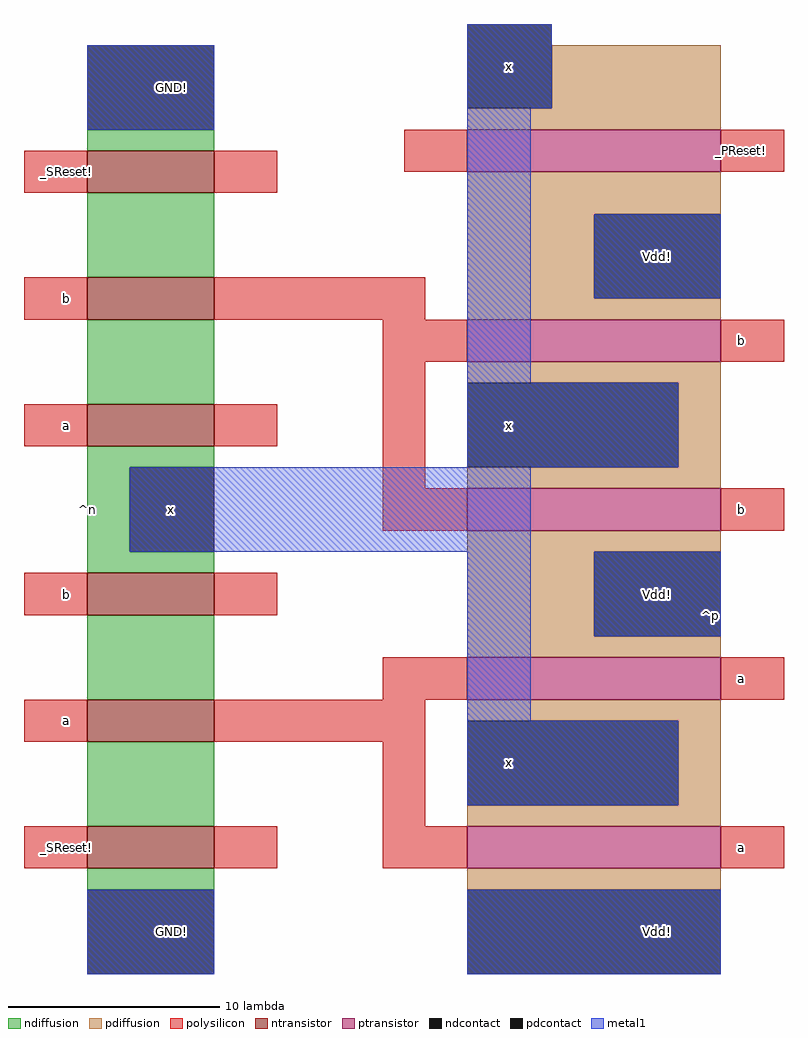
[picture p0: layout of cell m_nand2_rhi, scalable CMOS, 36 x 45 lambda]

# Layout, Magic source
magic
tech scmos
<< ndiffusion >>
rect 37 64 43 65
rect 37 58 43 62
rect 37 52 43 56
rect 37 49 43 50
rect 37 45 39 49
rect 37 44 43 45
rect 37 38 43 42
rect 37 32 43 36
rect 37 29 43 30
<< pdiffusion >>
rect 59 66 67 69
rect 55 65 67 66
rect 55 61 67 63
rect 55 57 61 61
rect 55 56 67 57
rect 55 53 67 54
rect 65 49 67 53
rect 55 48 67 49
rect 55 45 67 46
rect 55 41 61 45
rect 55 40 67 41
rect 55 37 67 38
rect 65 33 67 37
rect 55 32 67 33
rect 55 29 67 30
<< ntransistor >>
rect 37 62 43 64
rect 37 56 43 58
rect 37 50 43 52
rect 37 42 43 44
rect 37 36 43 38
rect 37 30 43 32
<< ptransistor >>
rect 55 63 67 65
rect 55 54 67 56
rect 55 46 67 48
rect 55 38 67 40
rect 55 30 67 32
<< polysilicon >>
rect 34 62 37 64
rect 43 62 46 64
rect 52 63 55 65
rect 67 63 70 65
rect 34 56 37 58
rect 43 56 53 58
rect 51 54 55 56
rect 67 54 70 56
rect 34 50 37 52
rect 43 50 46 52
rect 51 48 53 54
rect 51 46 55 48
rect 67 46 70 48
rect 34 42 37 44
rect 43 42 46 44
rect 51 38 55 40
rect 67 38 70 40
rect 34 36 37 38
rect 43 36 53 38
rect 51 32 53 36
rect 34 30 37 32
rect 43 30 46 32
rect 51 30 55 32
rect 67 30 70 32
<< ndcontact >>
rect 37 65 43 69
rect 39 45 43 49
rect 37 25 43 29
<< pdcontact >>
rect 55 66 59 70
rect 61 57 67 61
rect 55 49 65 53
rect 61 41 67 45
rect 55 33 65 37
rect 55 25 67 29
<< metal1 >>
rect 37 65 43 69
rect 55 66 59 70
rect 55 53 58 66
rect 61 57 67 61
rect 55 49 65 53
rect 39 45 58 49
rect 55 37 58 45
rect 61 41 67 45
rect 55 33 65 37
rect 37 25 43 29
rect 55 25 67 29
<< labels >>
rlabel polysilicon 36 51 36 51 3 a
rlabel polysilicon 36 57 36 57 3 b
rlabel polysilicon 36 37 36 37 3 a
rlabel polysilicon 36 43 36 43 3 b
rlabel polysilicon 36 31 36 31 3 _SReset!
rlabel polysilicon 36 63 36 63 3 _SReset!
rlabel space 34 24 40 70 7 ^n
rlabel polysilicon 68 55 68 55 7 b
rlabel polysilicon 68 47 68 47 7 b
rlabel polysilicon 68 39 68 39 7 a
rlabel polysilicon 68 31 68 31 7 a
rlabel space 63 24 70 60 3 ^p
rlabel polysilicon 68 64 68 64 1 _PReset!
rlabel ndcontact 41 47 41 47 1 x
rlabel ndcontact 41 27 41 27 1 GND!
rlabel ndcontact 41 67 41 67 1 GND!
rlabel pdcontact 57 35 57 35 1 x
rlabel pdcontact 57 51 57 51 1 x
rlabel pdcontact 64 59 64 59 1 Vdd!
rlabel pdcontact 64 43 64 43 1 Vdd!
rlabel pdcontact 64 27 64 27 1 Vdd!
rlabel pdcontact 57 68 57 68 1 x
<< end >>
